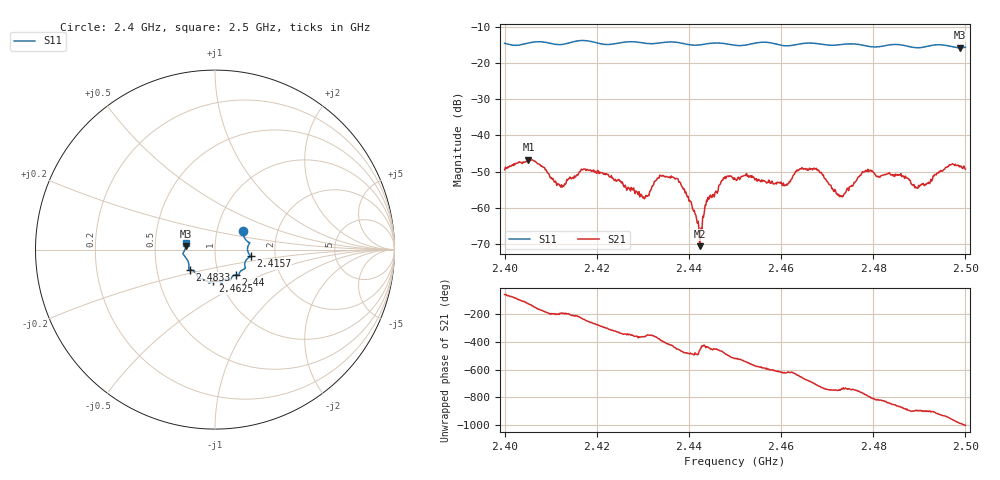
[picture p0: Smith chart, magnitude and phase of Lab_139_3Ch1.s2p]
# Hz S RI R 50
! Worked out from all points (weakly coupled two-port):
!   601 points, 2.4 GHz to 2.5 GHz, reference 50 ohm
!   highest |S21| = -46.67 dB at 2.4052 GHz (marker M1); lowest = -70.6 dB at 2.4423 GHz (marker M2)
!   lowest |S11| = -15.7 dB at 2.4988 GHz (marker M3), VSWR 1.39, Z = 36 + j1.36 ohm
!   |S11| at or under -10 dB: start of sweep to end of sweep
!   S12 and S22 are empty: the file has one direction only
!   S11 on the Smith chart (normalised r, x): 2.4 GHz: 1.34, +0.29; 2.4157 GHz: 1.49, -0.12; 2.44 GHz: 1.20, -0.35; 2.4625 GHz: 0.92, -0.34; 2.4833 GHz: 0.74, -0.17; 2.5 GHz: 0.72, +0.06
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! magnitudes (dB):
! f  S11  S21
! 2.4 GHz  -14.5  -49.5
! 2.4052 GHz  -14.4  -46.7
! 2.4123 GHz  -14.8  -53.6
! 2.4157 GHz  -13.9  -50.9
! 2.4167 GHz  -13.7  -49.3
! 2.4303 GHz  -14.4  -57.5
! 2.4333 GHz  -14.4  -51.8
! 2.4372 GHz  -14.2  -51.9
! 2.44 GHz  -14.8  -58.1
! 2.4423 GHz  -14.9  -70.6
! 2.4443 GHz  -14.5  -57.6
! 2.448 GHz  -14.6  -51.9
! 2.45 GHz  -15.0  -52.2
! 2.4608 GHz  -15.2  -53.8
! 2.4625 GHz  -15.0  -51.4
! 2.4667 GHz  -14.4  -49.2
! 2.473 GHz  -14.8  -56.9
! 2.478 GHz  -15.1  -50.1
! 2.4833 GHz  -15.0  -50.5
! 2.4895 GHz  -15.7  -54.4
! 2.4988 GHz  -15.7  -48.4
! 2.5 GHz  -15.6  -49.3
